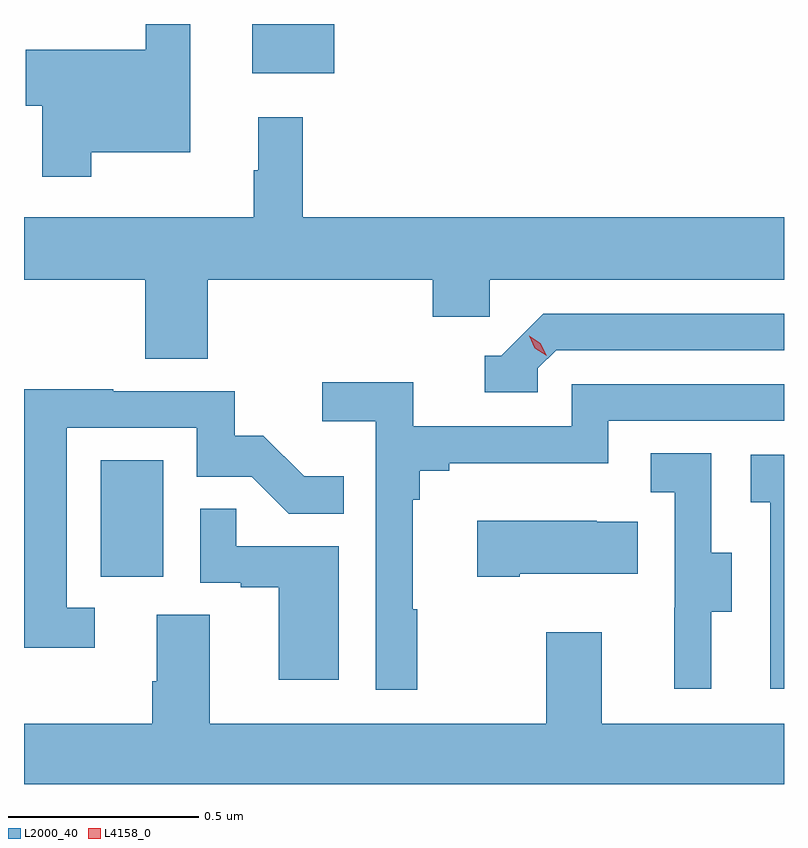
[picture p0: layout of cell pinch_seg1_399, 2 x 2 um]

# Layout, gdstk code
import gdstk
lib = gdstk.Library(unit=1e-6, precision=1e-09)
def R(c, l, rs):  # rectangles x0, y0, x1, y1
    for r in rs: c.add(gdstk.rectangle(r[:2], r[2:], *l))
def P(c, l, *ps):  # polygons
    for p in ps: c.add(gdstk.Polygon(p, *l))
L2000_40 = (2000, 40)
L4158_0 = (4158, 0)

pinch_seg1_399 = lib.new_cell('pinch_seg1_399')
R(pinch_seg1_399, L2000_40, [(1008.698,526.974,1008.862,527.281), (1009.097,528.299,1009.312,528.429)])
P(pinch_seg1_399, L2000_40, [(1008.673,528.092),(1008.934,528.092),(1008.934,528.429),(1008.817,528.429),(1008.817,528.361),(1008.5,528.361),(1008.5,528.214),(1008.544,528.214),(1008.544,528.027),(1008.673,528.027)],
  [(1008.98,527.756),(1009.571,527.756),(1009.571,527.658),(1009.722,527.658),(1009.722,527.756),(1010.496,527.756),(1010.496,527.92),(1009.229,527.92),(1009.229,528.184),(1009.112,528.184),(1009.112,528.044),(1009.101,528.044),(1009.101,527.92),(1008.496,527.92),(1008.496,527.756),(1008.815,527.756),(1008.815,527.548),(1008.98,527.548)],
  [(1009.848,527.523),(1009.896,527.571),(1010.496,527.571),(1010.496,527.667),(1009.863,527.667),(1009.752,527.556),(1009.709,527.556),(1009.709,527.46),(1009.848,527.46)],
  [(1009.531,526.889),(1009.519,526.889),(1009.519,527.177),(1009.538,527.177),(1009.538,527.254),(1009.615,527.254),(1009.615,527.273),(1010.034,527.273),(1010.034,527.385),(1010.496,527.385),(1010.496,527.481),(1009.938,527.481),(1009.938,527.37),(1009.52,527.37),(1009.52,527.486),(1009.281,527.486),(1009.281,527.384),(1009.422,527.384),(1009.422,526.677),(1009.531,526.677)],
  [(1008.682,526.893),(1008.609,526.893),(1008.609,527.367),(1008.951,527.367),(1008.951,527.238),(1009.095,527.238),(1009.193,527.14),(1009.337,527.14),(1009.337,527.239),(1009.233,527.239),(1009.126,527.346),(1009.05,527.346),(1009.05,527.463),(1008.731,527.463),(1008.731,527.468),(1008.496,527.468),(1008.496,526.788),(1008.682,526.788)],
  [(1010.305,526.882),(1010.359,526.882),(1010.359,527.037),(1010.304,527.037),(1010.304,527.3),(1010.145,527.3),(1010.145,527.197),(1010.208,527.197),(1010.208,526.893),(1010.207,526.893),(1010.207,526.68),(1010.305,526.68)],
  [(1010.496,527.295),(1010.409,527.295),(1010.409,527.171),(1010.46,527.171),(1010.46,526.68),(1010.496,526.68)],
  [(1009.324,527.055),(1009.055,527.055),(1009.055,527.153),(1008.96,527.153),(1008.96,526.959),(1009.067,526.959),(1009.067,526.947),(1009.166,526.947),(1009.166,526.704),(1009.324,526.704)],
  [(1009.801,526.982),(1010.111,526.982),(1010.111,527.119),(1010.003,527.119),(1010.003,527.122),(1009.689,527.122),(1009.689,526.975),(1009.801,526.975)],
  [(1010.496,526.588),(1010.017,526.588),(1010.017,526.828),(1009.87,526.828),(1009.87,526.588),(1008.985,526.588),(1008.985,526.874),(1008.845,526.874),(1008.845,526.7),(1008.833,526.7),(1008.833,526.588),(1008.496,526.588),(1008.496,526.429),(1010.496,526.429)])
P(pinch_seg1_399, L4158_0, [(1009.871,527.556),(1009.84,527.576),(1009.825,527.609),(1009.825,527.609),(1009.825,527.609),(1009.855,527.589),(1009.871,527.556),(1009.871,527.556)])

lib.write_gds('pinch_seg1_399.gds')
